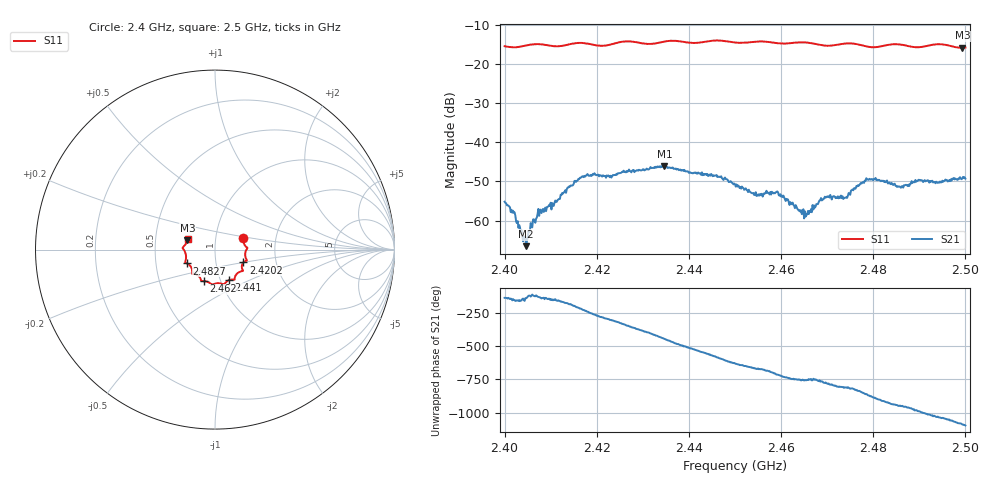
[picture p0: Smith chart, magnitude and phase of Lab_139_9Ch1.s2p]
# Hz S RI R 50
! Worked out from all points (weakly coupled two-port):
!   601 points, 2.4 GHz to 2.5 GHz, reference 50 ohm
!   highest |S21| = -46.08 dB at 2.4347 GHz (marker M1); lowest = -66.6 dB at 2.4047 GHz (marker M2)
!   lowest |S11| = -15.8 dB at 2.4993 GHz (marker M3), VSWR 1.39, Z = 36.5 + j3.86 ohm
!   |S11| at or under -10 dB: start of sweep to end of sweep
!   S12 and S22 are empty: the file has one direction only
!   S11 on the Smith chart (normalised r, x): 2.4 GHz: 1.36, +0.17; 2.4202 GHz: 1.36, -0.20; 2.441 GHz: 1.10, -0.39; 2.462 GHz: 0.83, -0.30; 2.4827 GHz: 0.72, -0.11; 2.5 GHz: 0.73, +0.09
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2.4e9  0.1584 0.0623  -0.00127 -0.00119  0 0  0 0
2.404667e9  0.1732 0.0156  -0.000364 -0.000297  0 0  0 0
2.407667e9  0.1803 0.00768  -0.000936 -0.000995  0 0  0 0
2.416667e9  0.1773 -0.0606  -0.00271 0.00235  0 0  0 0
2.420167e9  0.1583 -0.0715  -3.66e-06 0.00385  0 0  0 0
2.433333e9  0.1117 -0.1511  0.00191 -0.0045  0 0  0 0
2.434667e9  0.1097 -0.1613  0.000468 -0.00494  0 0  0 0
2.441e9  0.0783 -0.17  -0.00388 -0.00115  0 0  0 0
2.45e9  0.0283 -0.1876  3.3e-06 0.00292  0 0  0 0
2.454667e9  -0.011 -0.1946  0.00137 0.00154  0 0  0 0
2.459e9  -0.0326 -0.1837  0.0023 0.000238  0 0  0 0
2.462e9  -0.0608 -0.1759  0.00157 -0.000714  0 0  0 0
2.465e9  -0.0763 -0.1744  0.000839 -0.000656  0 0  0 0
2.466667e9  -0.0788 -0.1679  0.00102 -0.000774  0 0  0 0
2.469833e9  -0.0942 -0.1447  0.00101 -0.00173  0 0  0 0
2.474e9  -0.1256 -0.1349  -2.36e-05 -0.00196  0 0  0 0
2.478667e9  -0.1286 -0.1084  -0.00269 -0.00202  0 0  0 0
2.482667e9  -0.1564 -0.0772  -0.00292 0.00102  0 0  0 0
2.483333e9  -0.1607 -0.0753  -0.00267 0.00137  0 0  0 0
2.486e9  -0.1654 -0.067  -0.00165 0.00205  0 0  0 0
2.499333e9  -0.154 0.0515  0.00341 -0.000544  0 0  0 0
2.5e9  -0.1522 0.0612  0.0033 -0.000961  0 0  0 0
